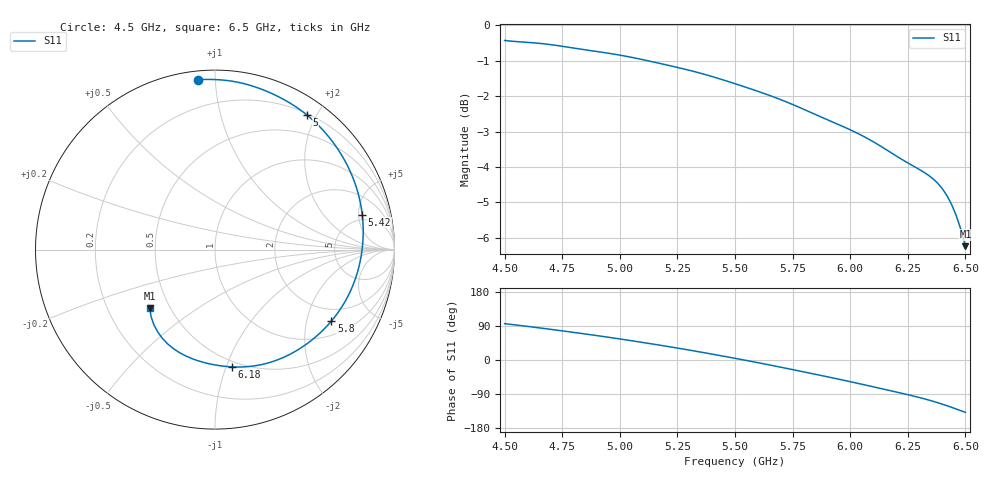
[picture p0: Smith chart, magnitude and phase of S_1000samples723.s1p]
! TOUCHSTONE file generated by CST MICROWAVE STUDIO
! Date and time: Sat Oct 29 04:03:52 2022
! Project name: L.cst
! Parameters = {Di=1.27; Epsilon_r=1.56; InnerDiameter=1.27; Length=2; Lf=10; Lg=60; OuterConductorThickness=0.2921; OuterDiameter=3.6; Wf=3; Wp=41.2; de=1.5; df=6.8; g=0.8; gx=4.681; gy=4.24637; h=2.34; hf=1.524; px=13.0823; py=13.9071; w=9.7; wx=8.40132; wy=9.6607}
! Header version: 2018
! Port assignment regex: !\s*Touchstone port\s*([0-9]+)\s*=\s*(CST MWS port|CST DS port)\s*([0-9]+|Zmin|Zmax)\s*\(\"(.*)\"\)(\s*mode\s*([0-9]+))?.*
! Touchstone port assignment:
! Touchstone port 1 = CST MWS port 1 ("")
# GHz S DB R 50
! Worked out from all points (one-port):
!   101 points, 4.5 GHz to 6.5 GHz, reference 50 ohm
!   lowest |S11| = -6.2 dB at 6.5 GHz (marker M1), VSWR 2.90, Z = 19.4 - j16.6 ohm
!   |S11| at or under -10 dB: nowhere
!   S11 on the Smith chart (normalised r, x): 4.5 GHz: 0.04, +0.90; 5 GHz: 0.22, +1.88; 5.42 GHz: 4.11, +5.55; 5.8 GHz: 1.49, -2.82; 6.18 GHz: 0.45, -1.05; 6.5 GHz: 0.39, -0.33
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4.5  -0.42 95.9
4.64  -0.50 85.6
4.76  -0.60 76.0
4.88  -0.72 66.1
5  -0.84 55.5
5.12  -1.00 44.3
5.2  -1.11 36.5
5.26  -1.20 30.4
5.34  -1.33 22.1
5.42  -1.48 13.4
5.5  -1.65 4.4
5.58  -1.82 -4.8
5.64  -1.95 -11.9
5.7  -2.10 -19.2
5.76  -2.26 -26.6
5.8  -2.37 -31.6
5.9  -2.66 -44.2
6  -2.95 -57.2
6.06  -3.14 -65.3
6.1  -3.28 -70.8
6.18  -3.61 -81.8
6.26  -3.92 -93.0
6.32  -4.15 -102.2
6.38  -4.46 -112.7
6.42  -4.81 -120.7
6.44  -5.05 -124.9
6.48  -5.75 -133.7
6.5  -6.23 -138.2
